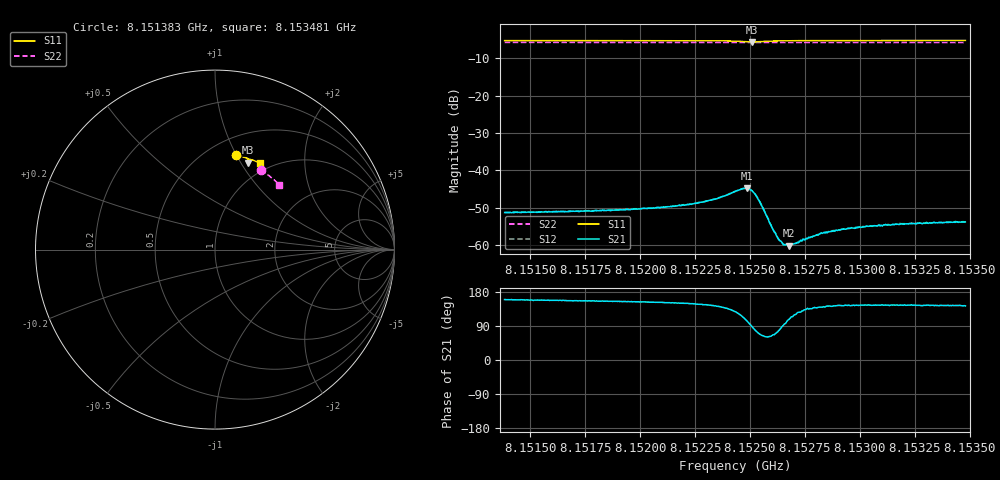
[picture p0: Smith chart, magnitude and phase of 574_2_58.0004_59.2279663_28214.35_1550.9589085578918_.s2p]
#  HZ  S  RI  R  50.00
! Rohde & Schwarz Vector Network Analyzer
! Rohde-Schwarz,ZNB20-2Port,1311601062101988,3.16
! Created: UTC 3/21/2024, 1:16:02 AM
! freq[Hz]  re:S11  im:S11  re:S21  im:S21  re:S12  im:S12  re:S22  im:S22
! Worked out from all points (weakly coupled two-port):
!   401 points, 8.151383 GHz to 8.153481 GHz, reference 50 ohm
!   highest |S21| = -44.80 dB at 8.152484 GHz (marker M1); lowest = -60.1 dB at 8.152678 GHz (marker M2)
!   lowest |S11| = -5.7 dB at 8.152511 GHz (marker M3), VSWR 3.15, Z = 40.5 + j53.7 ohm
!   |S11| at or under -10 dB: nowhere
!   |S22| runs from -5.9 to -5.8 dB; largest |S21 - S12| = 0.00013
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8.1513834e9  0.1162 0.5272  -0.00257 0.000963  -0.00257 0.00101  0.2548 0.4434
8.1517347e9  0.1407 0.5216  -0.00262 0.00118  -0.00264 0.00119  0.2737 0.4314
8.152086e9  0.1656 0.5145  -0.00283 0.00148  -0.00282 0.00154  0.2923 0.4185
8.1522118e9  0.175 0.5109  -0.00302 0.00176  -0.00301 0.00185  0.2986 0.4137
8.1522905e9  0.1815 0.5081  -0.00315 0.00214  -0.00315 0.0022  0.3027 0.4107
8.1523534e9  0.1871 0.5044  -0.00332 0.00264  -0.0033 0.00275  0.306 0.408
8.1524321e9  0.1929 0.4957  -0.00323 0.00412  -0.00318 0.0042  0.3097 0.4047
8.1524635e9  0.1925 0.4897  -0.00245 0.0051  -0.00239 0.00516  0.3111 0.4032
8.1524845e9  0.1893 0.4861  -0.00142 0.00557  -0.00135 0.00563  0.3121 0.4022
8.1525107e9  0.1827 0.4851  0.000259 0.00533  0.000336 0.00533  0.3129 0.4014
8.1525264e9  0.1794 0.4876  0.00106 0.00457  0.0011 0.0046  0.3135 0.4008
8.1525422e9  0.1778 0.4912  0.0014 0.00368  0.00144 0.00372  0.3143 0.4006
8.1525998e9  0.1824 0.5004  0.00076 0.00158  0.000791 0.00155  0.3175 0.3987
8.1526313e9  0.1868 0.502  0.000251 0.00117  0.000283 0.00117  0.3189 0.3973
8.1526418e9  0.1878 0.5024  9.92e-05 0.00113  0.000122 0.00109  0.3195 0.397
8.1526575e9  0.1897 0.5026  -9.2e-05 0.00101  -8.45e-05 0.00102  0.3204 0.3963
8.1526785e9  0.1921 0.5027  -0.000294 0.000944  -0.000284 0.00096  0.3214 0.3954
8.1527833e9  0.2021 0.5012  -0.00094 0.000915  -0.000913 0.000917  0.3266 0.391
8.1528253e9  0.2054 0.5002  -0.00113 0.000949  -0.00111 0.000932  0.3286 0.3893
8.1529249e9  0.2129 0.4977  -0.00132 0.000988  -0.00132 0.00101  0.3334 0.385
8.1531346e9  0.2275 0.492  -0.00152 0.00111  -0.00153 0.0011  0.3433 0.3759
8.1534807e9  0.25 0.4819  -0.00164 0.00125  -0.00164 0.00127  0.3587 0.3604
